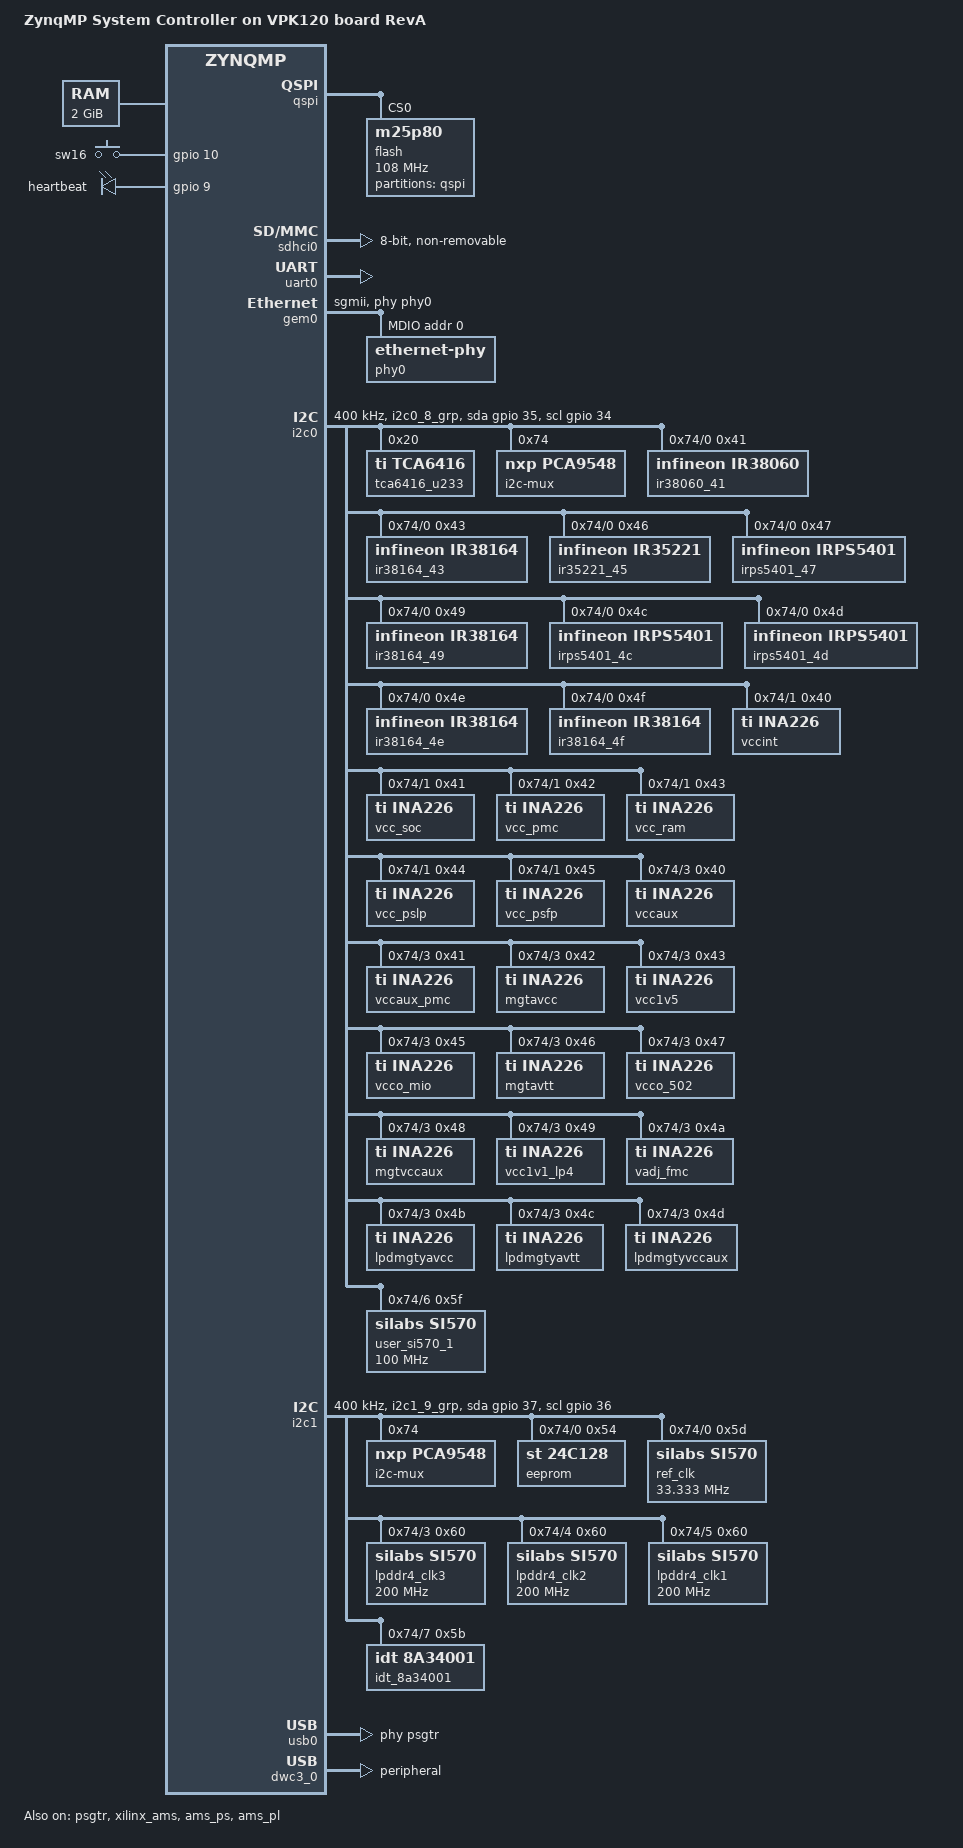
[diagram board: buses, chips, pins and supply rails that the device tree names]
// SPDX-License-Identifier: GPL-2.0
/*
 * dts file for Xilinx ZynqMP VPK120 RevA System Controller
 *
 * (C) Copyright 2021 - 2022, Xilinx, Inc.
 * (C) Copyright 2022 - 2023, Advanced Micro Devices, Inc.
 *
 * Michal Simek <michal.simek@amd.com>
 */
/dts-v1/;

#include "zynqmp.dtsi"
#include "zynqmp-clk-ccf.dtsi"
#include <dt-bindings/input/input.h>
#include <dt-bindings/gpio/gpio.h>
#include <dt-bindings/pinctrl/pinctrl-zynqmp.h>
#include <dt-bindings/phy/phy.h>

/ {
	model = "ZynqMP System Controller on VPK120 board RevA";
	compatible = "xlnx,zynqmp-vpk120-revA",
		     "xlnx,zynqmp-vpk120", "xlnx,zynqmp";

	aliases {
		ethernet0 = &gem0;
		i2c0 = &i2c0;
		i2c1 = &i2c1;
		mmc0 = &sdhci0;
		serial0 = &uart0;
		serial1 = &dcc;
		spi0 = &qspi;
		usb0 = &usb0;
		usb1 = &usb1;
		nvmem0 = &eeprom;
	};

	chosen {
		bootargs = "earlycon";
		stdout-path = "serial0:115200n8";
	};

	memory@0 {
		device_type = "memory";
		reg = <0x0 0x0 0x0 0x80000000>;
	};

	gpio-keys {
		compatible = "gpio-keys";
		autorepeat;
		sw16 {
			label = "sw16";
			gpios = <&gpio 10 GPIO_ACTIVE_HIGH>;
			linux,code = <BTN_MISC>;
			wakeup-source;
			autorepeat;
		};
	};

	leds {
		compatible = "gpio-leds";
		heartbeat-led { /* ds40 */
			label = "heartbeat";
			gpios = <&gpio 9 GPIO_ACTIVE_HIGH>;
			linux,default-trigger = "heartbeat";
		};
	};

	si5332_0: si5332-0 { /* ps_ref_clk */
		compatible = "fixed-clock";
		#clock-cells = <0>;
		clock-frequency = <33333333>;
	};

	si5332_1: si5332-1 { /* clk0_sgmii */
		compatible = "fixed-clock";
		#clock-cells = <0>;
		clock-frequency = <33333333>; /* FIXME */
	};

	si5332_2: si5332-2 { /* clk1_usb */
		compatible = "fixed-clock";
		#clock-cells = <0>;
		clock-frequency = <27000000>;
	};
};

&qspi { /* MIO 0-5 */
	status = "okay";
	flash@0 {
		compatible = "m25p80", "jedec,spi-nor"; /* mt25qu512abb8e12 512Mib */
		#address-cells = <1>;
		#size-cells = <1>;
		reg = <0>;
		spi-tx-bus-width = <4>;
		spi-rx-bus-width = <4>;
		spi-max-frequency = <108000000>;
		partition@0 { /* for testing purpose */
			label = "qspi";
			reg = <0 0x4000000>;
		};
	};
};

&sdhci0 { /* emmc MIO 13-23 - with some settings MTFC16GAPALBH 16GB */
	status = "okay";
	non-removable;
	disable-wp;
	bus-width = <8>;
	xlnx,mio-bank = <0>;
};

&uart0 { /* uart0 MIO38-39 */
	status = "okay";
	bootph-all;
};

&gem0 {
	status = "okay";
	phy-handle = <&phy0>;
	phy-mode = "sgmii"; /* DTG generates this properly 1512 */
	is-internal-pcspma;
	/* phys = <&psgtr 0 PHY_TYPE_SGMII 0 0>; */
	mdio: mdio {
		#address-cells = <1>;
		#size-cells = <0>;
		/* reset-gpios = <&gpio 142 GPIO_ACTIVE_LOW>; */
		phy0: ethernet-phy@0 {
			reg = <0>;
		};
	};
};

&gpio {
	status = "okay";
	gpio-line-names = "QSPI_CLK", "QSPI_DQ1", "QSPI_DQ2", "QSPI_DQ3", "QSPI_DQ0", /* 0 - 4 */
		  "QSPI_CS_B", "", "", "SYSCTLR_GPIO", "SYSCTLR_LED", /* 5 - 9 */
		  "SYSCTLR_PB", "PMC_ZU4_TRIGGER", "", "EMMC_DAT0", "EMMC_DAT1", /* 10 - 14 */
		  "EMMC_DAT2", "EMMC_DAT3", "EMMC_DAT4", "EMMC_DAT5", "EMMC_DAT6", /* 15 - 19 */
		  "EMMC_DAT7", "EMMC_CMD", "EMMC_CLK", "EMMC_RST_B", "", /* 20 - 24 */
		  "", "", "", "", "", /* 25 - 29 */
		  "", "", "", "", "LP_I2C0_PMC_SCL", /* 30 - 34 */
		  "LP_I2C0_PMC_SDA", "LP_I2C1_SCL", "LP_I2C1_SDA", "UART0_RXD_IN", "UART0_TXD_OUT", /* 35 - 39 */
		  "", "", "ETH_RESET_B", "", "", /* 40 - 44 */
		  "", "", "", "", "", /* 45 - 49 */
		  "", "", "USB0_CLK", "USB0_DIR", "USB0_DATA2", /* 50 - 54 */
		  "USB0_NXT", "USB0_DATA0", "USB0_DATA1", "USB0_STP", "USB0_DATA3", /* 55 - 59 */
		  "USB0_DATA4", "USB0_DATA5", "USB0_DATA6", "USB0_DATA7", "", /* 60 - 64 */
		  "", "", "", "", "", /* 65 - 69 */
		  "", "", "", "", "", /* 70 - 74 */
		  "", "ETH_MDC", "ETH_MDIO", /* 75 - 77, MIO end and EMIO start */
		  "SYSCTLR_VERSAL_MODE0", "SYSCTLR_VERSAL_MODE1", /* 78 - 79 */
		  "SYSCTLR_VERSAL_MODE2", "SYSCTLR_VERSAL_MODE3", "SYSCTLR_POR_B_LS", "", "", /* 80 - 84 */
		  "SYSCTLR_JTAG_S0", "SYSCTLR_JTAG_S1", "SYSCTLR_IIC_MUX0_RESET_B", "SYSCTLR_IIC_MUX1_RESET_B", "", /* 85 - 89 */
		  "SYSCTLR_GPIO0", "SYSCTLR_GPIO1", "SYSCTLR_GPIO2", "SYSCTLR_GPIO3", "SYSCTLR_GPIO4", /* 90 - 94 */
		  "SYSCTLR_GPIO5", "", "", "", "", /* 95 - 99 */
		  "", "", "", "", "", /* 100 - 104 */
		  "", "", "", "", "", /* 105 - 109 */
		  "", "", "", "", "", /* 110 - 114 */
		  "", "", "", "", "", /* 115 - 119 */
		  "", "", "", "", "", /* 120 - 124 */
		  "", "", "", "", "", /* 125 - 129 */
		  "", "", "", "", "", /* 130 - 134 */
		  "", "", "", "", "", /* 135 - 139 */
		  "", "", "", "", "", /* 140 - 144 */
		  "", "", "", "", "", /* 145 - 149 */
		  "", "", "", "", "", /* 150 - 154 */
		  "", "", "", "", "", /* 155 - 159 */
		  "", "", "", "", "", /* 160 - 164 */
		  "", "", "", "", "", /* 165 - 169 */
		  "", "", "", ""; /* 170 - 173 */
};

&i2c0 { /* MIO 34-35 - can't stay here */
	status = "okay";
	clock-frequency = <400000>;
	pinctrl-names = "default", "gpio";
	pinctrl-0 = <&pinctrl_i2c0_default>;
	pinctrl-1 = <&pinctrl_i2c0_gpio>;
	scl-gpios = <&gpio 34 (GPIO_ACTIVE_HIGH | GPIO_OPEN_DRAIN)>;
	sda-gpios = <&gpio 35 (GPIO_ACTIVE_HIGH | GPIO_OPEN_DRAIN)>;

	tca6416_u233: gpio@20 { /* u233 */ /* FIXME - address maybe wrong */
		compatible = "ti,tca6416";
		reg = <0x20>;
		gpio-controller; /* interrupt not connected */
		#gpio-cells = <2>;
		gpio-line-names = "MAX6643_OT_B", "MAX6643_FANFAIL_B", "QSFPDD1_MODSELL", "QSFPDD1_MODSELL", /* 0 - 3 */
				  "PMBUS2_INA226_ALERT", "", "", "MAX6643_FULL_SPEED", /* 4 - 7 */
				  "FMCP1_FMC_PRSNT_M2C_B", "", "FMCP1_FMCP_PRSNT_M2C_B", "", /* 10 - 13 */
				  "VCCINT_VRHOT_B", "8A34001_EXP_RST_B", "PMBUS_ALERT", "PMBUS1_INA226_ALERT"; /* 14 - 17 */
	};

	i2c-mux@74 { /* u33 */
		compatible = "nxp,pca9548";
		#address-cells = <1>;
		#size-cells = <0>;
		reg = <0x74>;
		/* reset-gpios = <&gpio SYSCTLR_IIC_MUX0_RESET_B GPIO_ACTIVE_HIGH>; */
		pmbus_i2c: i2c@0 {
			#address-cells = <1>;
			#size-cells = <0>;
			reg = <0>;
			/* On connector J325 */
			ir38060_41: regulator@41 { /* IR38060 - u259 */
				compatible = "infineon,ir38060", "infineon,ir38064";
				reg = <0x41>; /* i2c addr 0x11 */
			};
			ir38164_43: regulator@43 { /* IR38164 - u13 */
				compatible = "infineon,ir38164";
				reg = <0x43>; /* i2c addr 0x13 */
			};
			ir35221_45: pmic@46 { /* IR35221 - u152 */
				compatible = "infineon,ir35221";
				reg = <0x46>; /* PMBUS - 0x16 */
			};
			irps5401_47: pmic5401@47 { /* IRPS5401 - u160 */
				compatible = "infineon,irps5401";
				reg = <0x47>; /* i2c addr 0x17 */
			};
			ir38164_49: regulator@49 { /* IR38164 - u189 */
				compatible = "infineon,ir38164";
				reg = <0x49>; /* i2c addr 0x19 */
			};
			irps5401_4c: pmic@4c { /* IRPS5401 - u167 */
				compatible = "infineon,irps5401";
				reg = <0x4c>; /* i2c addr 0x1c */
			};
			irps5401_4d: pmic@4d { /* IRPS5401 - u175 */
				compatible = "infineon,irps5401";
				reg = <0x4d>; /* i2c addr 0x1c */
			};
			ir38164_4e: regulator@4e { /* IR38164 - u184 */
				compatible = "infineon,ir38164";
				reg = <0x4e>; /* i2c addr 0x1e */
			};
			ir38164_4f: regulator@4f { /* IR38164 - u187 */
				compatible = "infineon,ir38164";
				reg = <0x4f>; /* i2c addr 0x1f */
			};
		};
		pmbus1_ina226_i2c: i2c@1 {
			#address-cells = <1>;
			#size-cells = <0>;
			reg = <1>;
			/* FIXME check alerts coming to SC */
			vccint: ina226@40 { /* u65 */
				compatible = "ti,ina226";
				reg = <0x40>;
				shunt-resistor = <5000>;
			};
			vcc_soc: ina226@41 { /* u161 */
				compatible = "ti,ina226";
				reg = <0x41>;
				shunt-resistor = <5000>;
			};
			vcc_pmc: ina226@42 { /* u163 */
				compatible = "ti,ina226";
				reg = <0x42>;
				shunt-resistor = <5000>;
			};
			vcc_ram: ina226@43 { /* u5 */
				compatible = "ti,ina226";
				reg = <0x43>;
				shunt-resistor = <5000>;
			};
			vcc_pslp: ina226@44 { /* u165 */
				compatible = "ti,ina226";
				reg = <0x44>;
				shunt-resistor = <5000>;
			};
			vcc_psfp: ina226@45 { /* u164 */
				compatible = "ti,ina226";
				reg = <0x45>;
				shunt-resistor = <5000>;
			};
		};
		i2c@2 { /* NC */ /* FIXME maybe remove */
			#address-cells = <1>;
			#size-cells = <0>;
			reg = <2>;
		};
		pmbus2_ina226_i2c: i2c@3 {
			#address-cells = <1>;
			#size-cells = <0>;
			reg = <3>;
			/* FIXME check alerts coming to SC */
			vccaux: ina226@40 { /* u166 */
				compatible = "ti,ina226";
				reg = <0x40>;
				shunt-resistor = <5000>;
			};
			vccaux_pmc: ina226@41 { /* u168 */
				compatible = "ti,ina226";
				reg = <0x41>;
				shunt-resistor = <5000>;
			};
			mgtavcc: ina226@42 { /* u265 */
				compatible = "ti,ina226";
				reg = <0x42>;
				shunt-resistor = <5000>;
			};
			vcc1v5: ina226@43 { /* u264 */
				compatible = "ti,ina226";
				reg = <0x43>;
				shunt-resistor = <5000>;
			};
			vcco_mio: ina226@45 { /* u172 */
				compatible = "ti,ina226";
				reg = <0x45>;
				shunt-resistor = <5000>;
			};
			mgtavtt: ina226@46 { /* u188 */
				compatible = "ti,ina226";
				reg = <0x46>;
				shunt-resistor = <2000>;
			};
			vcco_502: ina226@47 { /* u174 */
				compatible = "ti,ina226";
				reg = <0x47>;
				shunt-resistor = <5000>;
			};
			mgtvccaux: ina226@48 { /* u176 */
				compatible = "ti,ina226";
				reg = <0x48>;
				shunt-resistor = <5000>;
			};
			vcc1v1_lp4: ina226@49 { /* u186 */
				compatible = "ti,ina226";
				reg = <0x49>;
				shunt-resistor = <2000>;
			};
			vadj_fmc: ina226@4a { /* u184 */
				compatible = "ti,ina226";
				reg = <0x4a>;
				shunt-resistor = <2000>;
			};
			lpdmgtyavcc: ina226@4b { /* u177 */
				compatible = "ti,ina226";
				reg = <0x4b>;
				shunt-resistor = <5000>;
			};
			lpdmgtyavtt: ina226@4c { /* u260 */
				compatible = "ti,ina226";
				reg = <0x4c>;
				shunt-resistor = <2000>;
			};
			lpdmgtyvccaux: ina226@4d { /* u234 */
				compatible = "ti,ina226";
				reg = <0x4d>;
				shunt-resistor = <5000>;
			};
		};
		i2c@4 { /* NC */
			#address-cells = <1>;
			#size-cells = <0>;
			reg = <4>;
		};
		i2c@5 { /* NC */
			#address-cells = <1>;
			#size-cells = <0>;
			reg = <5>;
		};
		user_si570: i2c@6 {
			#address-cells = <1>;
			#size-cells = <0>;
			reg = <6>;
			user_si570_1: clock-generator@5f { /* USER C0 SI570 - u205 */
				#clock-cells = <0>;
				compatible = "silabs,si570";
				reg = <0x5f>;
				temperature-stability = <50>;
				factory-fout = <100000000>;
				clock-frequency = <100000000>;
				clock-output-names = "fmc_si570";
			};

		};
		/* 7 unused */
	};
};

&i2c1 { /* i2c1 MIO 36-37 */
	status = "okay";
	clock-frequency = <400000>;
	pinctrl-names = "default", "gpio";
	pinctrl-0 = <&pinctrl_i2c1_default>;
	pinctrl-1 = <&pinctrl_i2c1_gpio>;
	scl-gpios = <&gpio 36 (GPIO_ACTIVE_HIGH | GPIO_OPEN_DRAIN)>;
	sda-gpios = <&gpio 37 (GPIO_ACTIVE_HIGH | GPIO_OPEN_DRAIN)>;

	i2c-mux@74 { /* u35 */
		compatible = "nxp,pca9548";
		#address-cells = <1>;
		#size-cells = <0>;
		reg = <0x74>;
		/* reset-gpios = <&gpio SYSCTLR_IIC_MUX1_RESET_B GPIO_ACTIVE_HIGH>; */
		ref_clk_i2c: i2c@0 {
			#address-cells = <1>;
			#size-cells = <0>;
			reg = <0>;
			/* Use for storing information about SC board */
			eeprom: eeprom@54 { /* u34 - m24128 16kB */
				compatible = "st,24c128", "atmel,24c128";
				reg = <0x54>; /* & 0x5c */
			};
			ref_clk: clock-generator@5d { /* u32 */
				#clock-cells = <0>;
				compatible = "silabs,si570";
				reg = <0x5d>;
				temperature-stability = <50>;
				factory-fout = <33333333>;
				clock-frequency = <33333333>;
				clock-output-names = "ref_clk";
				silabs,skip-recall;
			};
		};
		fmcp1_i2c: i2c@1 {
			#address-cells = <1>;
			#size-cells = <0>;
			reg = <1>;
			/* FIXME connection to Samtec J51C */
			/* expected eeprom 0x50 SE cards */
		};
		i2c@2 { /* NC - FIXME */
			#address-cells = <1>;
			#size-cells = <0>;
			reg = <2>;
		};
		lpddr4_si570_clk3_i2c: i2c@3 {
			#address-cells = <1>;
			#size-cells = <0>;
			reg = <3>;
			lpddr4_clk3: clock-generator@60 { /* u4 */
				#clock-cells = <0>;
				compatible = "silabs,si570";
				reg = <0x60>;
				temperature-stability = <50>;
				factory-fout = <200000000>;
				clock-frequency = <200000000>;
				clock-output-names = "lpddr4_clk3";
			};
		};
		lpddr4_si570_clk2_i2c: i2c@4 {
			#address-cells = <1>;
			#size-cells = <0>;
			reg = <4>;
			lpddr4_clk2: clock-generator@60 { /* u3 */
				#clock-cells = <0>;
				compatible = "silabs,si570";
				reg = <0x60>;
				temperature-stability = <50>;
				factory-fout = <200000000>;
				clock-frequency = <200000000>;
				clock-output-names = "lpddr4_clk2";
			};
		};
		lpddr4_si570_clk1_i2c: i2c@5 {
			#address-cells = <1>;
			#size-cells = <0>;
			reg = <5>;
			lpddr4_clk1: clock-generator@60 { /* u248 */
				#clock-cells = <0>;
				compatible = "silabs,si570";
				reg = <0x60>;
				temperature-stability = <50>;
				factory-fout = <200000000>;
				clock-frequency = <200000000>;
				clock-output-names = "lpddr4_clk1";
			};
		};
		qsfpdd_i2c: i2c@6 {
			#address-cells = <1>;
			#size-cells = <0>;
			reg = <6>;
			/* J1/J2 connectors */
		};
		idt8a34001_i2c: i2c@7 {
			#address-cells = <1>;
			#size-cells = <0>;
			reg = <7>;
			/* Via J310 connector */
			idt_8a34001: phc@5b {
				compatible = "idt,8a34001"; /* u219B */
				reg = <0x5b>; /* FIXME not in schematics */
			};
		};
	};
};

&usb0 { /* MIO52 - MIO63 */
	status = "okay";
	phy-names = "usb3-phy";
	phys = <&psgtr 1 PHY_TYPE_USB3 0 1>;
};

&psgtr {
	status = "okay";
	/* sgmii, usb3 */
	clocks = <&si5332_1>, <&si5332_2>;
	clock-names = "ref0", "ref1";
};

&dwc3_0 {
	status = "okay";
	dr_mode = "peripheral";
	snps,dis_u2_susphy_quirk;
	snps,dis_u3_susphy_quirk;
	maximum-speed = "super-speed";
};

&xilinx_ams {
	status = "okay";
};

&ams_ps {
	status = "okay";
};

&ams_pl {
	status = "okay";
};

&pinctrl0 {
	status = "okay";
	pinctrl_i2c0_default: i2c0-default {
		mux {
			groups = "i2c0_8_grp";
			function = "i2c0";
		};

		conf {
			groups = "i2c0_8_grp";
			bias-pull-up;
			slew-rate = <SLEW_RATE_SLOW>;
			power-source = <IO_STANDARD_LVCMOS18>;
		};
	};

	pinctrl_i2c0_gpio: i2c0-gpio-grp {
		mux {
			groups = "gpio0_34_grp", "gpio0_35_grp";
			function = "gpio0";
		};

		conf {
			groups = "gpio0_34_grp", "gpio0_35_grp";
			slew-rate = <SLEW_RATE_SLOW>;
			power-source = <IO_STANDARD_LVCMOS18>;
		};
	};

	pinctrl_i2c1_default: i2c1-default {
		mux {
			groups = "i2c1_9_grp";
			function = "i2c1";
		};

		conf {
			groups = "i2c1_9_grp";
			bias-pull-up;
			slew-rate = <SLEW_RATE_SLOW>;
			power-source = <IO_STANDARD_LVCMOS18>;
		};
	};

	pinctrl_i2c1_gpio: i2c1-gpio-grp {
		mux {
			groups = "gpio0_36_grp", "gpio0_37_grp";
			function = "gpio0";
		};

		conf {
			groups = "gpio0_36_grp", "gpio0_37_grp";
			slew-rate = <SLEW_RATE_SLOW>;
			power-source = <IO_STANDARD_LVCMOS18>;
		};
	};
};
